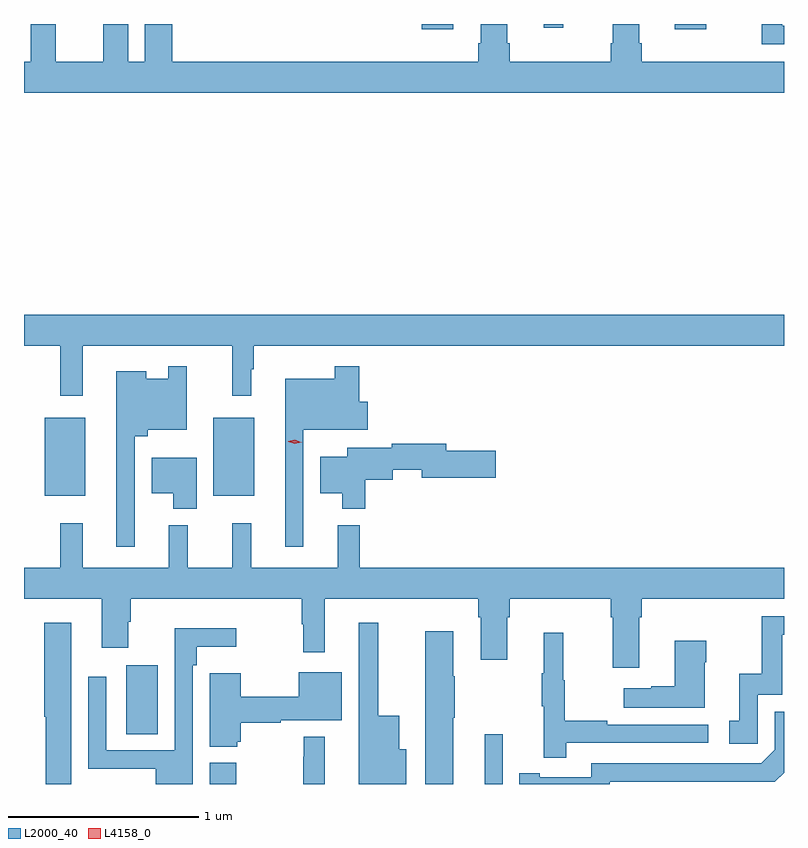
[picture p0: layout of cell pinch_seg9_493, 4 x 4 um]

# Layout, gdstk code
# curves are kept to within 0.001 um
import gdstk
lib = gdstk.Library(unit=1e-6, precision=1e-09)
def R(c, l, rs):  # rectangles x0, y0, x1, y1
    for r in rs: c.add(gdstk.rectangle(r[:2], r[2:], *l))
def P(c, l, *ps):  # polygons
    for p in ps: c.add(gdstk.Polygon(p, *l))
L2000_40 = (2000, 40)
L4158_0 = (4158, 0)

pinch_seg9_493 = lib.new_cell('pinch_seg9_493')
R(pinch_seg9_493, L2000_40, [(334.946,1194.114,335.085,1194.226), (336.392,1194.114,336.489,1194.376), (334.505,1194.376,334.672,1194.739), (334.076,1195.631,334.291,1196.041), (334.964,1195.631,335.179,1196.041), (336.062,1198.086,336.226,1198.114), (337.394,1198.086,337.56,1198.114), (336.704,1198.095,336.806,1198.114)])
P(pinch_seg9_493, L2000_40, [(337.968,1197.916),(337.22,1197.916),(337.22,1198.012),(337.207,1198.012),(337.207,1198.114),(337.067,1198.114),(337.067,1198.012),(337.055,1198.012),(337.055,1197.916),(336.524,1197.916),(336.524,1198.012),(336.511,1198.012),(336.511,1198.114),(336.371,1198.114),(336.371,1198.012),(336.359,1198.012),(336.359,1197.916),(334.748,1197.916),(334.748,1198.114),(334.604,1198.114),(334.604,1197.916),(334.516,1197.916),(334.516,1198.114),(334.385,1198.114),(334.385,1197.916),(334.135,1197.916),(334.135,1198.114),(334.004,1198.114),(334.004,1197.916),(333.968,1197.916),(333.968,1197.752),(337.968,1197.752)],
  [(337.968,1198.104),(337.959,1198.104),(337.959,1198.114),(337.851,1198.114),(337.851,1198.008),(337.968,1198.008)],
  [(334.276,1196.42),(335.065,1196.42),(335.065,1196.157),(335.164,1196.157),(335.164,1196.297),(335.176,1196.297),(335.176,1196.42),(337.968,1196.42),(337.968,1196.584),(333.968,1196.584),(333.968,1196.42),(334.159,1196.42),(334.159,1196.157),(334.276,1196.157)],
  [(334.551,1195.943),(334.62,1195.943),(334.62,1195.979),(334.824,1195.979),(334.824,1196.314),(334.728,1196.314),(334.728,1196.248),(334.612,1196.248),(334.612,1196.287),(334.454,1196.287),(334.454,1195.362),(334.551,1195.362)],
  [(335.439,1195.979),(335.776,1195.979),(335.776,1196.127),(335.732,1196.127),(335.732,1196.314),(335.604,1196.314),(335.604,1196.248),(335.342,1196.248),(335.342,1195.362),(335.439,1195.362)],
  [(335.764,1195.715),(335.908,1195.715),(335.908,1195.768),(336.062,1195.768),(336.062,1195.726),(336.451,1195.726),(336.451,1195.868),(336.19,1195.868),(336.19,1195.904),(335.904,1195.904),(335.904,1195.884),(335.669,1195.884),(335.669,1195.837),(335.528,1195.837),(335.528,1195.643),(335.642,1195.643),(335.642,1195.562),(335.764,1195.562)],
  [(334.876,1195.831),(334.64,1195.831),(334.64,1195.643),(334.754,1195.643),(334.754,1195.562),(334.876,1195.562)],
  [(335.735,1195.477),(335.618,1195.477),(335.618,1195.252),(335.165,1195.252),(335.165,1195.486),(335.065,1195.486),(335.065,1195.252),(334.83,1195.252),(334.83,1195.477),(334.73,1195.477),(334.73,1195.252),(334.277,1195.252),(334.277,1195.486),(334.159,1195.486),(334.159,1195.252),(333.968,1195.252),(333.968,1195.088),(334.376,1195.088),(334.376,1194.831),(334.516,1194.831),(334.516,1194.968),(334.529,1194.968),(334.529,1195.088),(335.43,1195.088),(335.43,1194.956),(335.437,1194.956),(335.437,1194.807),(335.551,1194.807),(335.551,1195.088),(336.359,1195.088),(336.359,1194.992),(336.371,1194.992),(336.371,1194.768),(336.511,1194.768),(336.511,1194.992),(336.524,1194.992),(336.524,1195.088),(337.055,1195.088),(337.055,1194.992),(337.067,1194.992),(337.067,1194.726),(337.207,1194.726),(337.207,1194.992),(337.22,1194.992),(337.22,1195.088),(337.968,1195.088),(337.968,1195.252),(335.735,1195.252)],
  [(337.83,1194.585),(337.959,1194.585),(337.959,1194.9),(337.968,1194.9),(337.968,1194.996),(337.851,1194.996),(337.851,1194.694),(337.733,1194.694),(337.733,1194.447),(337.68,1194.447),(337.68,1194.327),(337.83,1194.327)],
  [(335.98,1194.298),(335.944,1194.298),(335.944,1194.472),(335.833,1194.472),(335.833,1194.964),(335.729,1194.964),(335.729,1194.114),(335.98,1194.114)],
  [(334.216,1194.964),(334.075,1194.964),(334.075,1194.469),(334.082,1194.469),(334.082,1194.114),(334.216,1194.114)],
  [(334.857,1194.74),(334.877,1194.74),(334.877,1194.836),(335.086,1194.836),(335.086,1194.934),(334.761,1194.934),(334.761,1194.291),(334.401,1194.291),(334.401,1194.679),(334.305,1194.679),(334.305,1194.195),(334.661,1194.195),(334.661,1194.114),(334.857,1194.114)],
  [(336.226,1194.463),(336.234,1194.463),(336.234,1194.68),(336.226,1194.68),(336.226,1194.919),(336.08,1194.919),(336.08,1194.114),(336.226,1194.114)],
  [(336.821,1194.33),(337.57,1194.33),(337.57,1194.426),(337.037,1194.426),(337.037,1194.446),(336.814,1194.446),(336.814,1194.66),(336.806,1194.66),(336.806,1194.91),(336.704,1194.91),(336.704,1194.697),(336.693,1194.697),(336.693,1194.523),(336.704,1194.523),(336.704,1194.252),(336.821,1194.252)],
  [(337.552,1194.755),(337.56,1194.755),(337.56,1194.868),(337.394,1194.868),(337.394,1194.629),(337.268,1194.629),(337.268,1194.619),(337.125,1194.619),(337.125,1194.515),(337.552,1194.515)],
  [(335.091,1194.336),(335.11,1194.336),(335.11,1194.436),(335.318,1194.436),(335.318,1194.449),(335.641,1194.449),(335.641,1194.703),(335.414,1194.703),(335.414,1194.572),(335.11,1194.572),(335.11,1194.697),(334.946,1194.697),(334.946,1194.311),(335.091,1194.311)],
  [(337.05,1194.126),(337.918,1194.125),(337.968,1194.174),(337.968,1194.495),(337.92,1194.495),(337.92,1194.294),(337.848,1194.222),(336.954,1194.222),(336.954,1194.15),(336.682,1194.15),(336.682,1194.17),(336.574,1194.17),(336.574,1194.114),(337.05,1194.114)],
  [(335.551,1194.364),(335.44,1194.364),(335.44,1194.257),(335.437,1194.257),(335.437,1194.114),(335.551,1194.114)])
P(pinch_seg9_493, L4158_0, [(335.393,1195.905),(335.358,1195.916),(335.358,1195.916),(335.358,1195.917),(335.394,1195.925),(335.428,1195.914),(335.429,1195.914),(335.428,1195.914)])

lib.write_gds('pinch_seg9_493.gds')
